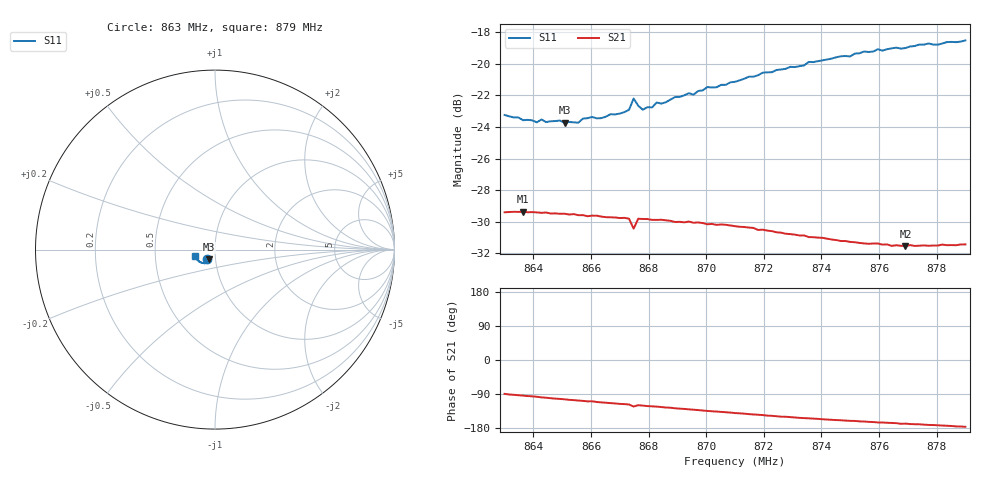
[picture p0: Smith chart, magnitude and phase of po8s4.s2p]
# HZ S RI R 50
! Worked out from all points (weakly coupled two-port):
!   101 points, 863 MHz to 879 MHz, reference 50 ohm
!   highest |S21| = -29.37 dB at 863.64 MHz (marker M1); lowest = -31.5 dB at 876.92 MHz (marker M2)
!   lowest |S11| = -23.7 dB at 865.08 MHz (marker M3), VSWR 1.14, Z = 46.4 - j5.13 ohm
!   |S11| at or under -10 dB: start of sweep to end of sweep
!   S12 and S22 are empty: the file has one direction only
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8.63e8  -0.0441 -0.0529  0.000413 -0.0339  0 0  0 0
8.6364e8  -0.04 -0.0529  -0.00236 -0.0339  0 0  0 0
8.6508e8  -0.0348 -0.0551  -0.00798 -0.0326  0 0  0 0
8.6556e8  -0.034 -0.0556  -0.00968 -0.0317  0 0  0 0
8.6572e8  -0.0336 -0.058  -0.0102 -0.0316  0 0  0 0
8.6636e8  -0.034 -0.0581  -0.0122 -0.0305  0 0  0 0
8.6716e8  -0.0333 -0.0619  -0.0145 -0.0292  0 0  0 0
8.6732e8  -0.0352 -0.0623  -0.0149 -0.0287  0 0  0 0
8.6748e8  -0.043 -0.0646  -0.0163 -0.0253  0 0  0 0
8.6764e8  -0.0354 -0.0647  -0.0158 -0.0282  0 0  0 0
8.678e8  -0.034 -0.063  -0.0163 -0.0279  0 0  0 0
8.6812e8  -0.0345 -0.0641  -0.0171 -0.0271  0 0  0 0
8.6828e8  -0.0351 -0.0668  -0.0175 -0.0269  0 0  0 0
8.6844e8  -0.0354 -0.0659  -0.018 -0.0266  0 0  0 0
8.694e8  -0.0401 -0.07  -0.0205 -0.0242  0 0  0 0
8.6956e8  -0.0393 -0.0696  -0.0207 -0.0236  0 0  0 0
8.7004e8  -0.0427 -0.0728  -0.0217 -0.0222  0 0  0 0
8.71e8  -0.0474 -0.0738  -0.0235 -0.0197  0 0  0 0
8.7372e8  -0.0682 -0.0748  -0.0256 -0.0121  0 0  0 0
8.7644e8  -0.0932 -0.0621  -0.0257 -0.00636  0 0  0 0
8.7692e8  -0.095 -0.0597  -0.0259 -0.00555  0 0  0 0
8.79e8  -0.1122 -0.0383  -0.0268 -0.00174  0 0  0 0
